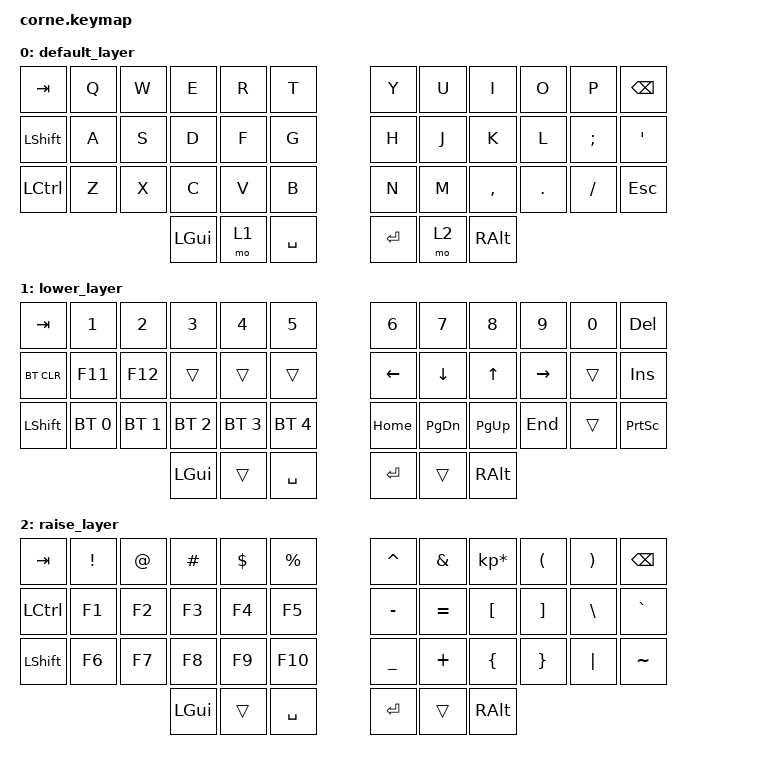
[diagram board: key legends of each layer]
/*
 * Copyright (c) 2020 The ZMK Contributors
 *
 * SPDX-License-Identifier: MIT
 */

#include <behaviors.dtsi>
#include <dt-bindings/zmk/keys.h>
#include <dt-bindings/zmk/bt.h>

/ {
        keymap {
                compatible = "zmk,keymap";

                default_layer {
// -----------------------------------------------------------------------------------------
// |  TAB |  Q  |  W  |  E  |  R  |  T  |   |  Y  |  U   |  I  |  O  |  P  | BKSP |
// | SHFT |  A  |  S  |  D  |  F  |  G  |   |  H  |  J   |  K  |  L  |  ;  |  '   |
// | CTRL |  Z  |  X  |  C  |  V  |  B  |   |  N  |  M   |  ,  |  .  |  /  | ESC  |
//                    | GUI | LWR | SPC |   | ENT | RSE  | ALT |
                        bindings = <
   &kp TAB   &kp Q &kp W &kp E &kp R &kp T   &kp Y &kp U  &kp I     &kp O   &kp P    &kp BSPC
   &kp LSHFT &kp A &kp S &kp D &kp F &kp G   &kp H &kp J  &kp K     &kp L   &kp SEMI &kp SQT
   &kp LCTRL &kp Z &kp X &kp C &kp V &kp B   &kp N &kp M  &kp COMMA &kp DOT &kp FSLH &kp ESC
                  &kp LGUI &mo 1 &kp SPACE   &kp RET &mo 2 &kp RALT
                        >;
                };
                lower_layer {
// -----------------------------------------------------------------------------------------
// |  TAB |  1  |  2  |  3  |  4  |  5  |   |  6  |  7  |  8  |  9  |  0  | DEL  |
// | BTCLR| F11 | F12 |     |     |     |   | LFT | DWN |  UP | RGT |     | INS  |
// | SHFT | BT1 | BT2 | BT3 | BT4 | BT5 |   |HOME |PG_DN|PG_UP| END |     |PRT SCR|
//                    | GUI |     | SPC |   | ENT |     | ALT |
                        bindings = <
   &kp TAB    &kp N1       &kp N2       &kp N3       &kp N4       &kp N5         &kp N6   &kp N7    &kp N8    &kp N9    &kp N0 &kp DEL
   &bt BT_CLR &kp F11      &kp F12      &trans       &trans       &trans         &kp LEFT &kp DOWN  &kp UP    &kp RIGHT &trans &kp INS
   &kp LSHFT  &bt BT_SEL 0 &bt BT_SEL 1 &bt BT_SEL 2 &bt BT_SEL 3 &bt BT_SEL 4   &kp HOME &kp PG_DN &kp PG_UP &kp END   &trans &kp PSCRN
                          	        &kp LGUI     &trans       &kp SPACE      &kp RET  &trans    &kp RALT
                        >;
                };

                raise_layer {
// -----------------------------------------------------------------------------------------
// |  TAB |  !  |  @  |  #  |  $  |  %  |   |  ^  |  &  |  *  |  (  |  )  | BKSP |
// | CTRL | F1  | F2  | F3  | F4  | F5  |   |  -  |  =  |  [  |  ]  |  \  |  `   |
// | SHFT | F6  | F7  | F8  | F9  | F10 |   |  _  |  +  |  {  |  }  | "|" |  ~   |
//                    | GUI |     | SPC |   | ENT |     | ALT |
                        bindings = <
   &kp  TAB  &kp EXCL &kp AT &kp HASH &kp DLLR &kp PRCNT   &kp CARET &kp AMPS  &kp KP_MULTIPLY &kp LPAR &kp RPAR &kp BSPC
   &kp LCTRL &kp F1   &kp F2 &kp F3   &kp F4   &kp F5      &kp MINUS &kp EQUAL &kp LBKT        &kp RBKT &kp BSLH &kp GRAVE
   &kp LSHFT &kp F6   &kp F7 &kp F8   &kp F9   &kp F10     &kp UNDER &kp PLUS  &kp LBRC        &kp RBRC &kp PIPE &kp TILDE
                    	     &kp LGUI &trans   &kp SPACE   &kp RET   &trans    &kp RALT
                        >;
                };
        };
};
